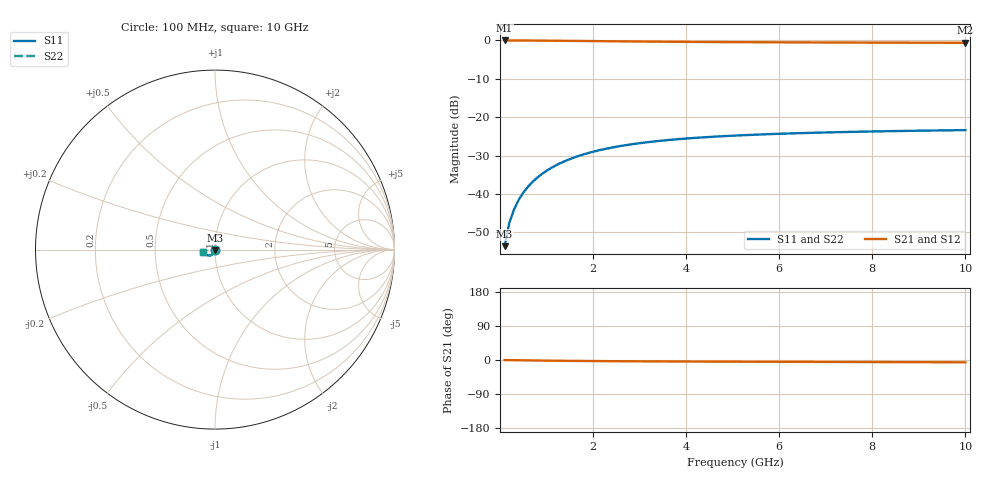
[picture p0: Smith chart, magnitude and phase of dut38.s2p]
! Touchstone file exported from HFSS 2024.1.0
!  File:  C:/UserFiles/LocalFiles/RDL_TSV_Batchsim/temp_TSV1_38_1779370692.aedt
!  Generated:  09:44:48 PM May 21, 2026
!  Design:  TSV1
!  Project:  temp_TSV1_38_1779370692
!  Setup:  Setup1
!  Solution:  Sweep
! Variables:
!  dtsv = 14.04um
!  hbump = 3um
!  htsv = 95.3um
!  lrdl = 252.1521522um
!  p = 40
!  p1 = 54.53um
!  t = 500um
!  trdl = 3um
!  wrdl = 24.89489489um
# GHz S MA R 50.000000
! Terminal data exported
! Port[1] = TSV22_T1
! Port[2] = TSV22_T2
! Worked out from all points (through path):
!   100 points, 100 MHz to 10 GHz, reference 50 ohm
!   highest |S21| = 0.00 dB at 100 MHz (marker M1); lowest = -0.6 dB at 10 GHz (marker M2)
!   lowest |S11| = -53.6 dB at 100 MHz (marker M3), VSWR 1.00, Z = 50 - j0.208 ohm
!   |S11| at or under -10 dB: start of sweep to end of sweep
!   |S22| runs from -53.6 to -23.4 dB; largest |S21 - S12| = 6.1e-15
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0.1  0.002081 -89.3  0.9998 -0.2  0.9998 -0.2  0.002081 -89.3
! Gamma 0 0 0 0
! Port Impedance 50 0 50 0
0.2  0.00416 -92.3  0.9996 -0.3  0.9996 -0.3  0.00416 -92.3
0.3  0.006235 -94.5  0.9993 -0.5  0.9993 -0.5  0.006235 -94.5
0.4  0.008296 -96.6  0.9988 -0.7  0.9988 -0.7  0.008296 -96.6
0.5  0.01033 -98.5  0.9982 -0.9  0.9982 -0.9  0.01033 -98.5
0.6  0.01234 -100.5  0.9975 -1.0  0.9975 -1.0  0.01234 -100.5
0.7  0.01432 -102.3  0.9967 -1.2  0.9967 -1.2  0.01432 -102.3
0.8  0.01625 -104.2  0.9958 -1.3  0.9958 -1.3  0.01625 -104.2
0.9  0.01814 -106.0  0.9948 -1.5  0.9948 -1.5  0.01814 -106.0
1.1  0.02177 -109.4  0.9926 -1.8  0.9926 -1.8  0.02177 -109.4
1.4  0.02681 -114.3  0.9889 -2.1  0.9889 -2.1  0.02681 -114.3
1.6  0.0299 -117.4  0.9863 -2.4  0.9863 -2.4  0.0299 -117.4
1.8  0.03276 -120.3  0.9836 -2.6  0.9836 -2.6  0.03276 -120.3
2.1  0.03665 -124.4  0.9795 -2.9  0.9795 -2.9  0.03665 -124.4
2.5  0.04113 -129.2  0.9743 -3.2  0.9743 -3.2  0.04113 -129.2
2.9  0.04492 -133.6  0.9695 -3.4  0.9695 -3.4  0.04492 -133.6
3.4  0.04885 -138.3  0.9641 -3.7  0.9641 -3.7  0.04885 -138.3
4.2  0.05372 -144.6  0.9568 -4.1  0.9568 -4.1  0.05372 -144.6
5.1  0.05773 -150.4  0.9503 -4.4  0.9503 -4.4  0.05773 -150.4
6.7  0.06251 -158.3  0.9422 -5.0  0.9422 -5.0  0.06251 -158.3
8.4  0.06573 -164.7  0.9366 -5.6  0.9366 -5.6  0.06573 -164.7
10  0.06778 -169.5  0.933 -6.1  0.933 -6.1  0.06778 -169.5
